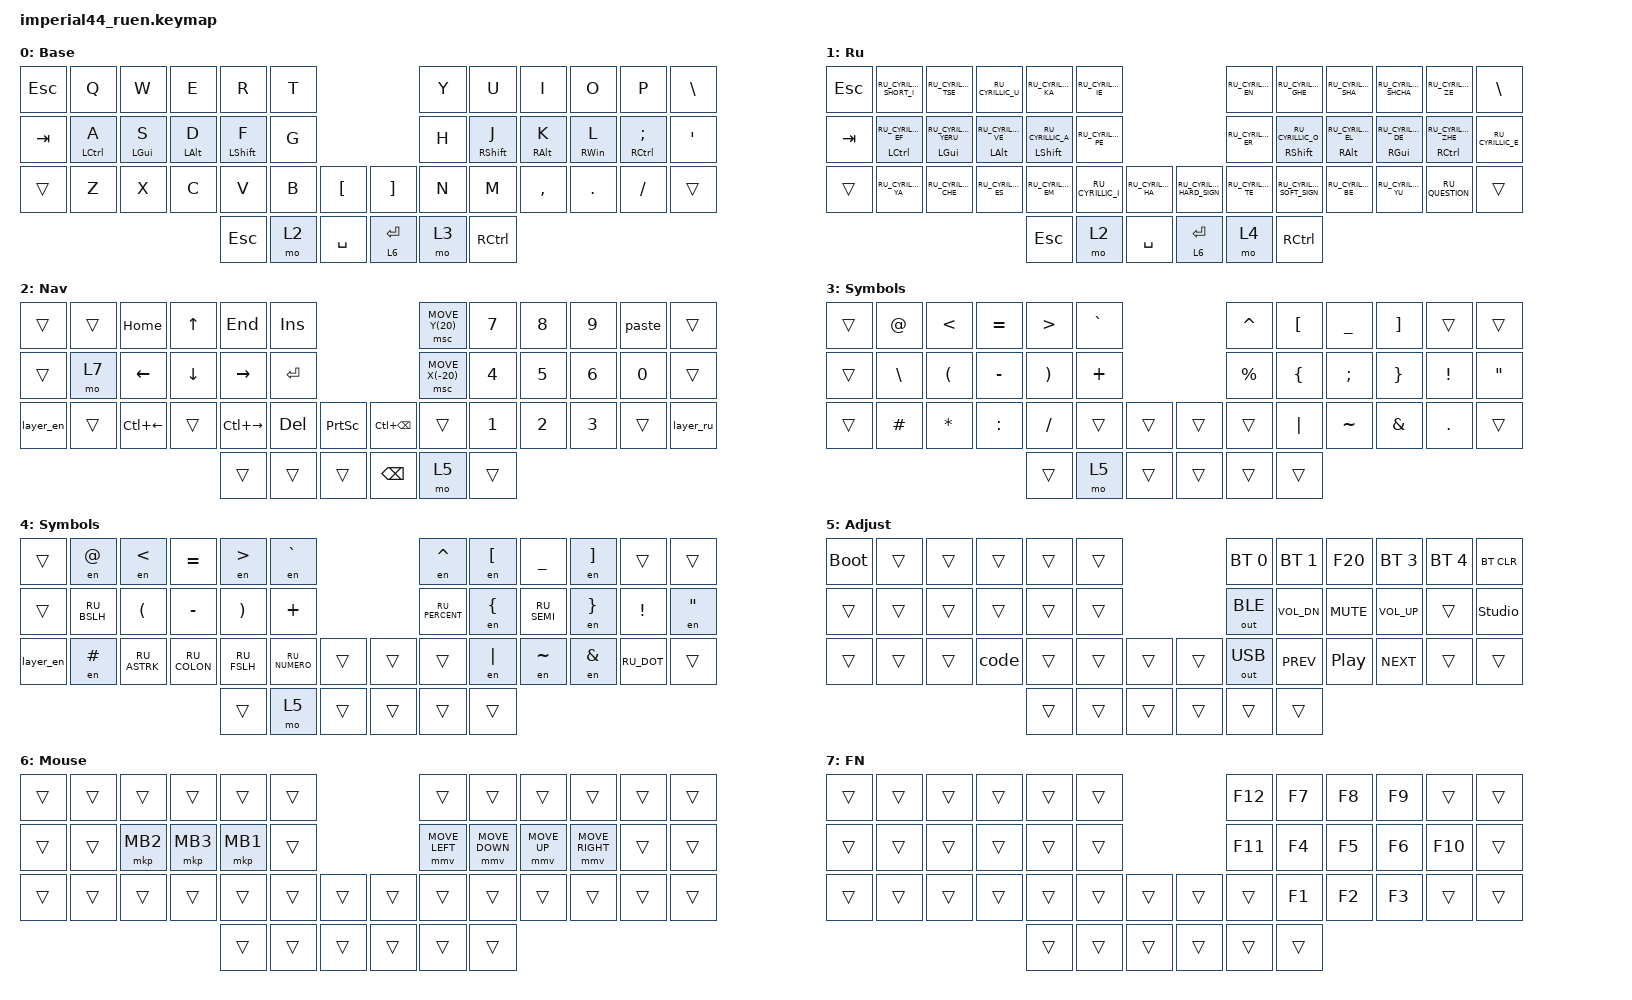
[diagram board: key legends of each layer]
#include "keys_ru.h"
#include <behaviors.dtsi>
#include <dt-bindings/zmk/bt.h>
#include <dt-bindings/zmk/keys.h>
#include <dt-bindings/zmk/outputs.h>
#include <dt-bindings/zmk/pointing.h>

/ {
    combos {
        compatible = "zmk,combos";

        cmben {
            bindings = <&layer_en>;
            key-positions = <15 16>;
            layers = <1>;
        };

        cmbru {
            bindings = <&layer_ru>;
            key-positions = <15 16>;
            layers = <0>;
        };

        caps_word {
            bindings = <&caps_word>;
            key-positions = <6 7>;
        };

        ru_dot {
            bindings = <&kp RU_DOT>;
            key-positions = <20 21>;
            layers = <1>;
        };

        ru_comma {
            bindings = <&kp RU_COMMA>;
            key-positions = <20 19>;
            layers = <1>;
        };
    };

    macros {
        to_ru: to_ru {
            compatible = "zmk,behavior-macro";
            #binding-cells = <0>;
            bindings = <&kp LS(LC(N2))>;
            label = "TO_RU";
            wait-ms = <0>;
            tap-ms = <30>;
        };

        to_en: to_en {
            compatible = "zmk,behavior-macro";
            #binding-cells = <0>;
            bindings = <&kp LS(LC(N1))>;
            label = "TO_EN";
            wait-ms = <0>;
            tap-ms = <30>;
        };

        layer_en: layer_en {
            compatible = "zmk,behavior-macro";
            #binding-cells = <0>;
            bindings = <&to 0 &to_en>;
            label = "LAYER_EN";
            wait-ms = <0>;
            tap-ms = <30>;
        };

        layer_ru: layer_ru {
            compatible = "zmk,behavior-macro";
            #binding-cells = <0>;
            bindings = <&to 1 &to_ru>;
            label = "LAYER_RU";
            tap-ms = <30>;
            wait-ms = <0>;
        };

        en: en {
            compatible = "zmk,behavior-macro-one-param";
            #binding-cells = <1>;
            bindings =
                <&to_en>,
                <&macro_press>,
                <&macro_param_1to1 &kp MACRO_PLACEHOLDER>,
                <&macro_pause_for_release>,
                <&macro_release>,
                <&macro_param_1to1 &kp MACRO_PLACEHOLDER>,
                <&macro_tap>,
                <&to_ru>;

            label = "EN";
            wait-ms = <0>;
            tap-ms = <30>;
        };

        code: code {
            compatible = "zmk,behavior-macro";
            #binding-cells = <0>;
            bindings =
                <&kp GRAVE &kp GRAVE &kp GRAVE>,
                <&macro_wait_time 10>,
                <&kp ENTER>,
                <&macro_wait_time 10>,
                <&kp GRAVE &kp GRAVE &kp GRAVE>,
                <&macro_wait_time 10>,
                <&kp UP &kp ENTER>;

            label = "CODE";
        };

        paste: paste {
            compatible = "zmk,behavior-macro";
            #binding-cells = <0>;
            bindings =
                <&macro_press>,
                <&kp LCTRL &kp LSHFT>,
                <&macro_tap>,
                <&kp V>,
                <&macro_release>,
                <&kp LCTRL &kp LSHFT>;

            label = "PASTE";
            wait-ms = <30>;
            tap-ms = <30>;
        };
    };

    behaviors {
        hrm_left: hrm_left {
            compatible = "zmk,behavior-hold-tap";
            label = "HRM_LEFT";
            bindings = <&kp>, <&kp>;

            #binding-cells = <2>;
            tapping-term-ms = <210>;
            flavor = "balanced";
            quick-tap-ms = <175>;
            require-prior-idle-ms = <125>;
            hold-trigger-on-release;
            hold-trigger-key-positions = <19 20 21 22 41 42 43 38 39 40 33 32 18 31 6 7 8 9 10 36 35 34 23>;
        };

        hrm_right: hrm_right {
            compatible = "zmk,behavior-hold-tap";
            label = "HRM_RIGHT";
            bindings = <&kp>, <&kp>;

            #binding-cells = <2>;
            tapping-term-ms = <210>;
            flavor = "balanced";
            quick-tap-ms = <175>;
            require-prior-idle-ms = <125>;
            hold-trigger-on-release;
            hold-trigger-key-positions = <13 14 15 16 17 30 29 5 4 28 27 3 2 26 1 25 38 39 40>;
        };
    };

    keymap {
        compatible = "zmk,keymap";

        en {
            bindings = <
&kp ESC  &kp Q              &kp W                 &kp E                 &kp R                   &kp T                            &kp Y  &kp U                     &kp I                   &kp O                   &kp P                  &kp BSLH
&kp TAB  &hrm_left LCTRL A  &hrm_left LEFT_GUI S  &hrm_left LEFT_ALT D  &hrm_left LEFT_SHIFT F  &kp G                            &kp H  &hrm_right RIGHT_SHIFT J  &hrm_right RIGHT_ALT K  &hrm_right RIGHT_WIN L  &hrm_right RCTRL SEMI  &kp SINGLE_QUOTE
&trans   &kp Z              &kp X                 &kp C                 &kp V                   &kp B  &kp LBKT     &kp RBKT     &kp N  &kp M                     &kp COMMA               &kp DOT                 &kp SLASH              &trans
                                                                        &kp ESC                 &mo 2  &kp SPACE    &lt 6 ENTER  &mo 3  &kp RCTRL
            >;

            display-name = "Base";
        };

        ru {
            display-name = "Ru";
            bindings = <
&kp ESC  &kp RU_CYRILLIC_SHORT_I         &kp RU_CYRILLIC_TSE                  &kp RU_CYRILLIC_U                  &kp RU_CYRILLIC_KA                  &kp RU_CYRILLIC_IE                                                   &kp RU_CYRILLIC_EN  &kp RU_CYRILLIC_GHE                   &kp RU_CYRILLIC_SHA                  &kp RU_CYRILLIC_SHCHA                &kp RU_CYRILLIC_ZE                &kp BSLH
&kp TAB  &hrm_left LCTRL RU_CYRILLIC_EF  &hrm_left LEFT_GUI RU_CYRILLIC_YERU  &hrm_left LEFT_ALT RU_CYRILLIC_VE  &hrm_left LEFT_SHIFT RU_CYRILLIC_A  &kp RU_CYRILLIC_PE                                                   &kp RU_CYRILLIC_ER  &hrm_right RIGHT_SHIFT RU_CYRILLIC_O  &hrm_right RIGHT_ALT RU_CYRILLIC_EL  &hrm_right RIGHT_GUI RU_CYRILLIC_DE  &hrm_right RCTRL RU_CYRILLIC_ZHE  &kp RU_CYRILLIC_E
&trans   &kp RU_CYRILLIC_YA              &kp RU_CYRILLIC_CHE                  &kp RU_CYRILLIC_ES                 &kp RU_CYRILLIC_EM                  &kp RU_CYRILLIC_I   &kp RU_CYRILLIC_HA    &kp RU_CYRILLIC_HARD_SIGN  &kp RU_CYRILLIC_TE  &kp RU_CYRILLIC_SOFT_SIGN             &kp RU_CYRILLIC_BE                   &kp RU_CYRILLIC_YU                   &kp RU_QUESTION                   &trans
                                                                                                                 &kp ESC                             &mo 2               &kp SPACE             &lt 6 RETURN               &mo 4               &kp RCTRL
            >;
        };

        nav {
            bindings = <
&trans     &trans  &kp HOME      &kp UP    &kp END        &kp INS                                        &msc MOVE_Y(20)   &kp N7  &kp N8  &kp N9  &paste        &trans
&trans     &mo 7   &kp LEFT      &kp DOWN  &kp RIGHT      &kp RET                                        &msc MOVE_X(-20)  &kp N4  &kp N5  &kp N6  &kp NUMBER_0  &trans
&layer_en  &trans  &kp LC(LEFT)  &trans    &kp LC(RIGHT)  &kp DEL  &kp PRINTSCREEN    &kp LC(BACKSPACE)  &trans            &kp N1  &kp N2  &kp N3  &trans        &layer_ru
                                           &trans         &trans   &trans             &kp BACKSPACE      &mo 5             &trans
            >;

            display-name = "Nav";
        };

        sym_en {
            bindings = <
&trans  &kp AT    &kp LT    &kp EQUAL  &kp GT    &kp GRAVE                    &kp CARET  &kp LBKT  &kp UNDER  &kp RBKT  &trans    &trans
&trans  &kp BSLH  &kp LPAR  &kp MINUS  &kp RPAR  &kp PLUS                     &kp PRCNT  &kp LBRC  &kp SEMI   &kp RBRC  &kp EXCL  &kp DOUBLE_QUOTES
&trans  &kp HASH  &kp STAR  &kp COLON  &kp FSLH  &trans     &trans    &trans  &trans     &kp PIPE  &kp TILDE  &kp AMPS  &kp DOT   &trans
                                       &trans    &mo 5      &trans    &trans  &trans     &trans
            >;

            display-name = "Symbols";
        };

        sym_ru {
            display-name = "Symbols";
            bindings = <
&trans     &en AT_SIGN  &en LT        &kp EQUAL     &en GT       &en GRAVE                        &en CARET       &en LBKT  &kp UNDER    &en RBKT  &trans      &trans
&trans     &kp RU_BSLH  &kp LPAR      &kp MINUS     &kp RPAR     &kp PLUS                         &kp RU_PERCENT  &en LBRC  &kp RU_SEMI  &en RBRC  &kp EXCL    &en DOUBLE_QUOTES
&layer_en  &en HASH     &kp RU_ASTRK  &kp RU_COLON  &kp RU_FSLH  &kp RU_NUMERO  &trans    &trans  &trans          &en PIPE  &en TILDE    &en AMPS  &kp RU_DOT  &trans
                                                    &trans       &mo 5          &trans    &trans  &trans          &trans
            >;
        };

        adj {
            bindings = <
&bootloader  &trans  &trans  &trans  &trans  &trans                    &bt BT_SEL 0  &bt BT_SEL 1  &kp F20           &bt BT_SEL 3  &bt BT_SEL 4  &bt BT_CLR
&trans       &trans  &trans  &trans  &trans  &trans                    &out OUT_BLE  &kp C_VOL_DN  &kp C_MUTE        &kp C_VOL_UP  &trans        &studio_unlock
&trans       &trans  &trans  &code   &trans  &trans  &trans    &trans  &out OUT_USB  &kp C_PREV    &kp C_PLAY_PAUSE  &kp C_NEXT    &trans        &trans
                                     &trans  &trans  &trans    &trans  &trans        &trans
            >;

            display-name = "Adjust";
        };

        mouse {
            bindings = <
&trans  &trans  &trans    &trans    &trans    &trans                    &trans          &trans          &trans        &trans           &trans  &trans
&trans  &trans  &mkp MB2  &mkp MB3  &mkp MB1  &trans                    &mmv MOVE_LEFT  &mmv MOVE_DOWN  &mmv MOVE_UP  &mmv MOVE_RIGHT  &trans  &trans
&trans  &trans  &trans    &trans    &trans    &trans  &trans    &trans  &trans          &trans          &trans        &trans           &trans  &trans
                                    &trans    &trans  &trans    &trans  &trans          &trans
            >;

            label = "Mouse";
        };

        fn {
            bindings = <
&trans  &trans  &trans  &trans  &trans  &trans                    &kp F12  &kp F7  &kp F8  &kp F9  &trans   &trans
&trans  &trans  &trans  &trans  &trans  &trans                    &kp F11  &kp F4  &kp F5  &kp F6  &kp F10  &trans
&trans  &trans  &trans  &trans  &trans  &trans  &trans    &trans  &trans   &kp F1  &kp F2  &kp F3  &trans   &trans
                                &trans  &trans  &trans    &trans  &trans   &trans
            >;

            label = "FN";
        };
    };
};
